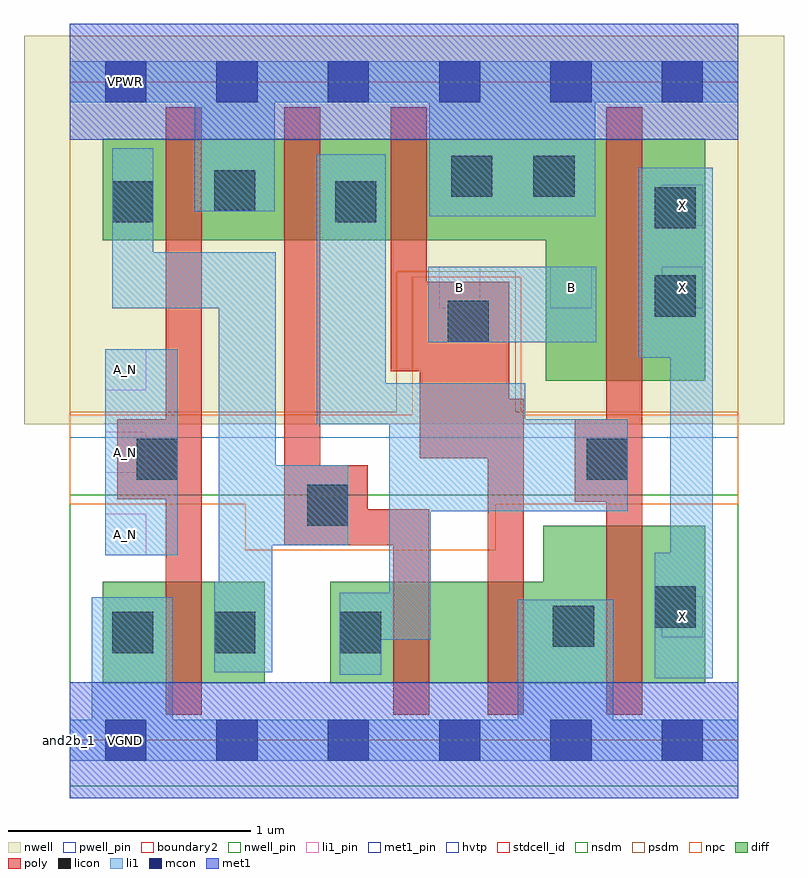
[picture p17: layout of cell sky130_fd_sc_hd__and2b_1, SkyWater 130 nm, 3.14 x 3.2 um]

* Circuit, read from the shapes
.subckt sky130_fd_sc_hd__and2b_1 A_N B VGND VNB VPB VPWR X
XM1 n1 A_N VGND VNB sky130_fd_pr__nfet_01v8 w=0.42 l=0.15
XM2 n2 n1 n3 VNB sky130_fd_pr__nfet_01v8 w=0.42 l=0.15
XM3 VGND B n2 VNB sky130_fd_pr__nfet_01v8 w=0.42 l=0.15
XM4 X n3 VGND VNB sky130_fd_pr__nfet_01v8 w=0.65 l=0.15
XM5 VPWR A_N n1 VPB sky130_fd_pr__pfet_01v8_hvt w=0.42 l=0.15
XM6 n3 n1 VPWR VPB sky130_fd_pr__pfet_01v8_hvt w=0.42 l=0.15
XM7 VPWR B n3 VPB sky130_fd_pr__pfet_01v8_hvt w=0.42 l=0.15
XM8 X n3 VPWR VPB sky130_fd_pr__pfet_01v8_hvt w=1 l=0.15
.ends

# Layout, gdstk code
import gdstk
lib = gdstk.Library(unit=1e-6, precision=1e-09)
def R(c, l, rs):  # rectangles x0, y0, x1, y1
    for r in rs: c.add(gdstk.rectangle(r[:2], r[2:], *l))
def A(c, l, x, y, w, h, nx, ny, dx, dy):  # array of equal rectangles
    R(c, l, [(x+i*dx, y+j*dy, x+i*dx+w, y+j*dy+h) for i in range(nx) for j in range(ny)])
def P(c, l, *ps):  # polygons
    for p in ps: c.add(gdstk.Polygon(p, *l))
nwell_pin = (64, 16)
nwell = (64, 20)
diff = (65, 20)
poly = (66, 20)
licon = (66, 44)
li1_pin = (67, 16)
li1 = (67, 20)
mcon = (67, 44)
met1_pin = (68, 16)
met1 = (68, 20)
hvtp = (78, 44)
stdcell_id = (81, 4)
nsdm = (93, 44)
psdm = (94, 20)
npc = (95, 20)
pwell_pin = (122, 16)
boundary2 = (236, 0)

sky130_fd_sc_hd__and2b_1 = lib.new_cell('sky130_fd_sc_hd__and2b_1')
R(sky130_fd_sc_hd__and2b_1, nwell_pin, [(0.145,2.635,0.315,2.805)])
R(sky130_fd_sc_hd__and2b_1, nwell, [(-0.19,1.305,2.95,2.91)])
R(sky130_fd_sc_hd__and2b_1, diff, [(0.135,0.235,0.805,0.655)])
P(sky130_fd_sc_hd__and2b_1, diff, [(2.625,0.885),(1.955,0.885),(1.955,0.655),(1.075,0.655),(1.075,0.235),(2.625,0.235)],
  [(2.625,2.485),(0.135,2.485),(0.135,2.065),(1.965,2.065),(1.965,1.485),(2.625,1.485)])
P(sky130_fd_sc_hd__and2b_1, poly, [(2.365,2.615),(2.215,2.615),(2.215,1.325),(2.085,1.325),(2.085,0.985),(2.215,0.985),(2.215,0.105),(2.365,0.105)],
  [(1.875,1.41),(1.815,1.41),(1.815,1.895),(1.475,1.895),(1.475,2.615),(1.325,2.615),(1.325,1.525),(1.445,1.525),(1.445,1.165),(1.725,1.165),(1.725,0.105),(1.875,0.105)],
  [(1.485,0.955),(1.23,0.955),(1.23,1.135),(1.035,1.135),(1.035,2.615),(0.885,2.615),(0.885,0.805),(1.335,0.805),(1.335,0.105),(1.485,0.105)],
  [(0.545,2.615),(0.395,2.615),(0.395,1.325),(0.195,1.325),(0.195,0.995),(0.395,0.995),(0.395,0.105),(0.545,0.105)])
R(sky130_fd_sc_hd__and2b_1, licon, [(0.175,0.36,0.345,0.53), (0.595,0.36,0.765,0.53), (1.115,0.36,1.285,0.53), (1.995,0.385,2.165,0.555), (2.415,0.465,2.585,0.635), (0.98,0.885,1.15,1.055), (0.275,1.075,0.445,1.245), (2.135,1.075,2.305,1.245), (1.56,1.645,1.73,1.815), (2.415,1.75,2.585,1.92), (2.415,2.115,2.585,2.285), (0.175,2.14,0.345,2.31), (1.095,2.14,1.265,2.31), (0.595,2.185,0.765,2.355), (1.575,2.245,1.745,2.415), (1.915,2.245,2.085,2.415)])
A(sky130_fd_sc_hd__and2b_1, li1_pin, 0.145, 0.765, 0.17, 0.17, 1, 3, 0, 0.34)
A(sky130_fd_sc_hd__and2b_1, li1_pin, 1.525, 1.785, 0.17, 0.17, 3, 1, 0.46, 0)
R(sky130_fd_sc_hd__and2b_1, li1_pin, [(2.445,0.425,2.615,0.595), (2.445,2.125,2.615,2.295)])
R(sky130_fd_sc_hd__and2b_1, li1, [(0.145,0.765,0.445,1.615), (1.48,1.645,2.175,1.955)])
P(sky130_fd_sc_hd__and2b_1, li1, [(2.655,2.365),(2.35,2.365),(2.35,1.58),(2.48,1.58),(2.48,0.775),(2.415,0.775),(2.415,0.255),(2.655,0.255)],
  [(2.76,2.805),(0,2.805),(0,2.635),(0.515,2.635),(0.515,2.185),(0.845,2.185),(0.845,2.635),(1.485,2.635),(1.485,2.165),(2.17,2.165),(2.17,2.635),(2.76,2.635)],
  [(2.305,1.325),(1.88,1.325),(1.88,1.475),(1.305,1.475),(1.305,2.42),(1.02,2.42),(1.02,1.305),(1.32,1.305),(1.32,0.61),(1.115,0.61),(1.115,0.27),(1.285,0.27),(1.285,0.415),(1.49,0.415),(1.49,0.945),(2.305,0.945)],
  [(1.15,1.135),(0.85,1.135),(0.85,2.015),(0.345,2.015),(0.345,2.445),(0.175,2.445),(0.175,1.785),(0.615,1.785),(0.615,0.655),(0.595,0.655),(0.595,0.28),(0.835,0.28),(0.835,0.805),(1.15,0.805)],
  [(2.76,0.085),(2.245,0.085),(2.245,0.58),(1.85,0.58),(1.85,0.085),(0.425,0.085),(0.425,0.59),(0.09,0.59),(0.09,0.085),(0,0.085),(0,-0.085),(2.76,-0.085)])
A(sky130_fd_sc_hd__and2b_1, mcon, 0.145, -0.085, 0.17, 0.17, 6, 2, 0.46, 2.72)
R(sky130_fd_sc_hd__and2b_1, met1_pin, [(0.145,-0.085,0.315,0.085), (0.145,2.635,0.315,2.805)])
R(sky130_fd_sc_hd__and2b_1, hvtp, [(0,1.25,2.76,2.72)])
R(sky130_fd_sc_hd__and2b_1, stdcell_id, [(0,0,2.76,2.72)])
R(sky130_fd_sc_hd__and2b_1, nsdm, [(0,-0.19,2.76,1.015)])
P(sky130_fd_sc_hd__and2b_1, psdm, [(2.76,2.91),(0,2.91),(0,1.355),(1.35,1.355),(1.35,1.935),(1.84,1.935),(1.84,1.355),(2.76,1.355)])
P(sky130_fd_sc_hd__and2b_1, npc, [(2.76,1.345),(1.865,1.345),(1.865,1.915),(1.415,1.915),(1.415,1.345),(0,1.345),(0,0.975),(0.725,0.975),(0.725,0.785),(1.76,0.785),(1.76,0.975),(2.76,0.975)])
R(sky130_fd_sc_hd__and2b_1, pwell_pin, [(0.145,-0.085,0.315,0.085)])
R(sky130_fd_sc_hd__and2b_1, boundary2, [(0,0,2.76,2.72)])
sky130_fd_sc_hd__and2b_1.add(gdstk.FlexPath([(0,0),(2.76,0)], 0.48, ends="flush", simple_path=True, layer=68, datatype=20))  # met1
sky130_fd_sc_hd__and2b_1.add(gdstk.FlexPath([(0,2.72),(2.76,2.72)], 0.48, ends="flush", simple_path=True, layer=68, datatype=20))  # met1
sky130_fd_sc_hd__and2b_1.add(gdstk.Label('X', (2.53,1.87), layer=67, texttype=5))
sky130_fd_sc_hd__and2b_1.add(gdstk.Label('A_N', (0.23,1.53), layer=67, texttype=5))
sky130_fd_sc_hd__and2b_1.add(gdstk.Label('A_N', (0.23,0.85), layer=67, texttype=5))
sky130_fd_sc_hd__and2b_1.add(gdstk.Label('B', (1.61,1.87), layer=67, texttype=5))
sky130_fd_sc_hd__and2b_1.add(gdstk.Label('X', (2.53,0.51), layer=67, texttype=5))
sky130_fd_sc_hd__and2b_1.add(gdstk.Label('A_N', (0.23,1.19), layer=67, texttype=5))
sky130_fd_sc_hd__and2b_1.add(gdstk.Label('B', (2.07,1.87), layer=67, texttype=5))
sky130_fd_sc_hd__and2b_1.add(gdstk.Label('X', (2.53,2.21), layer=67, texttype=5))
sky130_fd_sc_hd__and2b_1.add(gdstk.Label('VGND', (0.23,0), layer=68, texttype=5))
sky130_fd_sc_hd__and2b_1.add(gdstk.Label('VPWR', (0.23,2.72), layer=68, texttype=5))
sky130_fd_sc_hd__and2b_1.add(gdstk.Label('VPB', (0.23,2.72), layer=64, texttype=5))
sky130_fd_sc_hd__and2b_1.add(gdstk.Label('VNB', (0.23,0), layer=64, texttype=59))
sky130_fd_sc_hd__and2b_1.add(gdstk.Label('and2b_1', (0,0), layer=83, texttype=44))

lib.write_gds('sky130_fd_sc_hd__and2b_1.gds')
